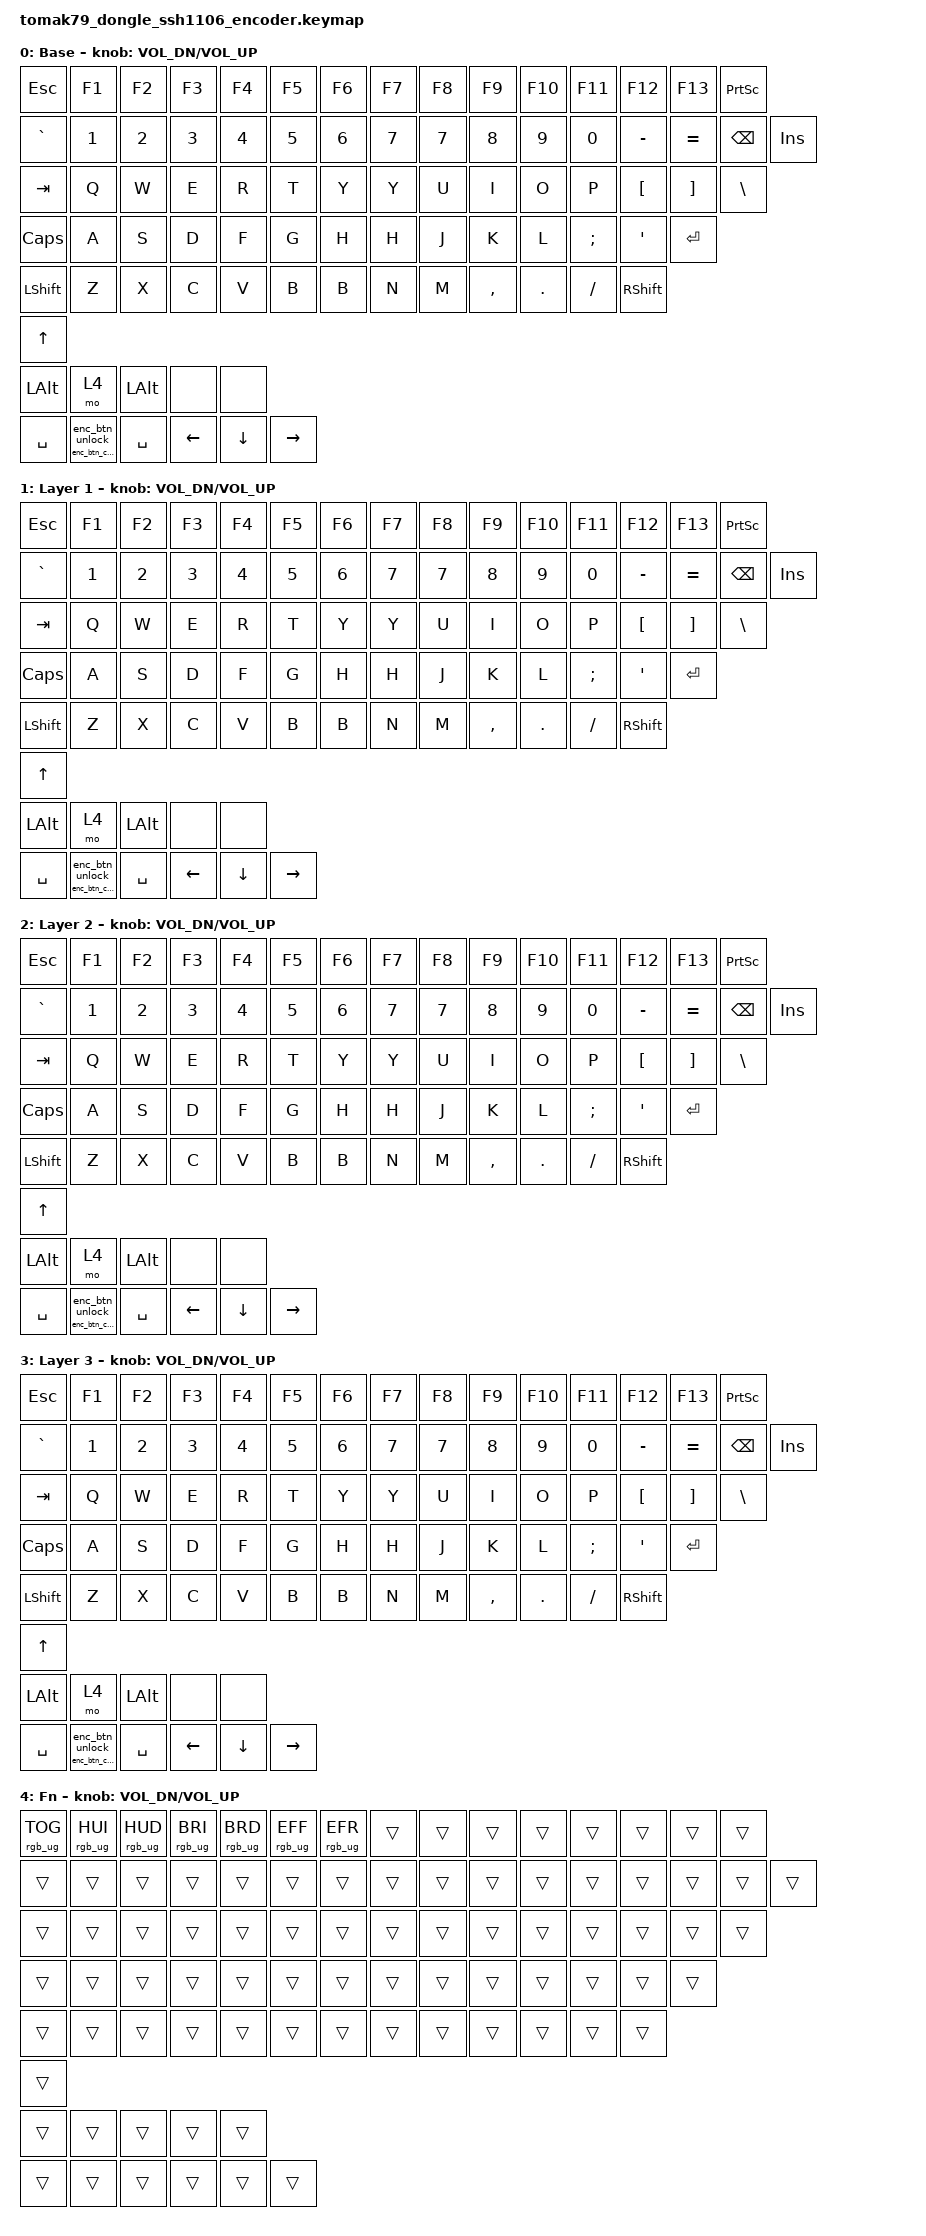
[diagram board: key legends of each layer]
#include <behaviors.dtsi>
#include <dt-bindings/zmk/keys.h>
#include <dt-bindings/zmk/bt.h>
#include <dt-bindings/zmk/rgb.h>

/ {
    behaviors {
        enc_btn_clear: enc_btn_clear {
            compatible = "zmk,behavior-macro-one-param";
            #binding-cells = <1>;
            bindings = <&bt BT_CLR>;
        };

        enc_btn_unlock: enc_btn_unlock {
            compatible = "zmk,behavior-macro-one-param";
            #binding-cells = <1>;
            bindings = <&studio_unlock>;
        };

        enc_btn_btclr: enc_btn_btclr {
            compatible = "zmk,behavior-hold-tap";
            #binding-cells = <2>;
            flavor = "tap-preferred";
            tapping-term-ms = <400>;
            quick-tap-ms = <200>;
            bindings = <&enc_btn_clear>, <&enc_btn_unlock>;
        };
    };

    keymap {
        compatible = "zmk,keymap";

        default_layer {
            display-name = "Base";
           bindings = <
    &kp ESC          &kp F1           &kp F2           &kp F3           &kp F4           &kp F5           &kp F6           &kp F7           &kp F8           &kp F9           &kp F10          &kp F11          &kp F12          &kp F13          &kp PSCRN
    &kp GRAVE        &kp N1           &kp N2           &kp N3           &kp N4           &kp N5           &kp N6           &kp N7           &kp N7           &kp N8           &kp N9           &kp N0           &kp MINUS        &kp EQUAL        &kp BSPC         &kp INS
    &kp TAB          &kp Q            &kp W            &kp E            &kp R            &kp T            &kp Y            &kp Y            &kp U            &kp I            &kp O            &kp P            &kp LBKT         &kp RBKT         &kp BSLH
    &kp CAPS         &kp A            &kp S            &kp D            &kp F            &kp G            &kp H            &kp H            &kp J            &kp K            &kp L            &kp SEMI         &kp SQT          &kp RET
    &kp LSHFT        &kp Z            &kp X            &kp C            &kp V            &kp B            &kp B            &kp N            &kp M            &kp COMMA        &kp DOT          &kp FSLH         &kp RSHFT
    &kp UP
    &kp LALT         &mo 4            &kp LALT         &none            &none
    &kp SPC          &enc_btn_btclr 0 0 &kp SPC          &kp LEFT         &kp DOWN         &kp RIGHT
>;
            sensor-bindings = <&inc_dec_kp C_VOL_DN C_VOL_UP>;
        };

        layer_1 {
            display-name = "Layer 1";
           bindings = <
    &kp ESC          &kp F1           &kp F2           &kp F3           &kp F4           &kp F5           &kp F6           &kp F7           &kp F8           &kp F9           &kp F10          &kp F11          &kp F12          &kp F13          &kp PSCRN
    &kp GRAVE        &kp N1           &kp N2           &kp N3           &kp N4           &kp N5           &kp N6           &kp N7           &kp N7           &kp N8           &kp N9           &kp N0           &kp MINUS        &kp EQUAL        &kp BSPC         &kp INS
    &kp TAB          &kp Q            &kp W            &kp E            &kp R            &kp T            &kp Y            &kp Y            &kp U            &kp I            &kp O            &kp P            &kp LBKT         &kp RBKT         &kp BSLH
    &kp CAPS         &kp A            &kp S            &kp D            &kp F            &kp G            &kp H            &kp H            &kp J            &kp K            &kp L            &kp SEMI         &kp SQT          &kp RET
    &kp LSHFT        &kp Z            &kp X            &kp C            &kp V            &kp B            &kp B            &kp N            &kp M            &kp COMMA        &kp DOT          &kp FSLH         &kp RSHFT
    &kp UP
    &kp LALT         &mo 4            &kp LALT         &none            &none
    &kp SPC          &enc_btn_btclr 0 0 &kp SPC          &kp LEFT         &kp DOWN         &kp RIGHT
>;
            sensor-bindings = <&inc_dec_kp C_VOL_DN C_VOL_UP>;
        };

        layer_2 {
            display-name = "Layer 2";
           bindings = <
    &kp ESC          &kp F1           &kp F2           &kp F3           &kp F4           &kp F5           &kp F6           &kp F7           &kp F8           &kp F9           &kp F10          &kp F11          &kp F12          &kp F13          &kp PSCRN
    &kp GRAVE        &kp N1           &kp N2           &kp N3           &kp N4           &kp N5           &kp N6           &kp N7           &kp N7           &kp N8           &kp N9           &kp N0           &kp MINUS        &kp EQUAL        &kp BSPC         &kp INS
    &kp TAB          &kp Q            &kp W            &kp E            &kp R            &kp T            &kp Y            &kp Y            &kp U            &kp I            &kp O            &kp P            &kp LBKT         &kp RBKT         &kp BSLH
    &kp CAPS         &kp A            &kp S            &kp D            &kp F            &kp G            &kp H            &kp H            &kp J            &kp K            &kp L            &kp SEMI         &kp SQT          &kp RET
    &kp LSHFT        &kp Z            &kp X            &kp C            &kp V            &kp B            &kp B            &kp N            &kp M            &kp COMMA        &kp DOT          &kp FSLH         &kp RSHFT
    &kp UP
    &kp LALT         &mo 4            &kp LALT         &none            &none
    &kp SPC          &enc_btn_btclr 0 0 &kp SPC          &kp LEFT         &kp DOWN         &kp RIGHT
>;
            sensor-bindings = <&inc_dec_kp C_VOL_DN C_VOL_UP>;
        };

        layer_3 {
            display-name = "Layer 3";
           bindings = <
    &kp ESC          &kp F1           &kp F2           &kp F3           &kp F4           &kp F5           &kp F6           &kp F7           &kp F8           &kp F9           &kp F10          &kp F11          &kp F12          &kp F13          &kp PSCRN
    &kp GRAVE        &kp N1           &kp N2           &kp N3           &kp N4           &kp N5           &kp N6           &kp N7           &kp N7           &kp N8           &kp N9           &kp N0           &kp MINUS        &kp EQUAL        &kp BSPC         &kp INS
    &kp TAB          &kp Q            &kp W            &kp E            &kp R            &kp T            &kp Y            &kp Y            &kp U            &kp I            &kp O            &kp P            &kp LBKT         &kp RBKT         &kp BSLH
    &kp CAPS         &kp A            &kp S            &kp D            &kp F            &kp G            &kp H            &kp H            &kp J            &kp K            &kp L            &kp SEMI         &kp SQT          &kp RET
    &kp LSHFT        &kp Z            &kp X            &kp C            &kp V            &kp B            &kp B            &kp N            &kp M            &kp COMMA        &kp DOT          &kp FSLH         &kp RSHFT
    &kp UP
    &kp LALT         &mo 4            &kp LALT         &none            &none
    &kp SPC          &enc_btn_btclr 0 0 &kp SPC          &kp LEFT         &kp DOWN         &kp RIGHT
>;
            sensor-bindings = <&inc_dec_kp C_VOL_DN C_VOL_UP>;
        };

        fn_layer {
            display-name = "Fn";
           bindings = <
    &rgb_ug RGB_TOG  &rgb_ug RGB_HUI  &rgb_ug RGB_HUD  &rgb_ug RGB_BRI  &rgb_ug RGB_BRD  &rgb_ug RGB_EFF  &rgb_ug RGB_EFR  &trans          &trans          &trans          &trans          &trans          &trans          &trans          &trans
    &trans           &trans           &trans           &trans           &trans           &trans           &trans           &trans           &trans           &trans           &trans           &trans           &trans           &trans           &trans           &trans
    &trans           &trans           &trans           &trans           &trans           &trans           &trans           &trans           &trans           &trans           &trans           &trans           &trans           &trans           &trans
    &trans           &trans           &trans           &trans           &trans           &trans           &trans           &trans           &trans           &trans           &trans           &trans           &trans           &trans
    &trans           &trans           &trans           &trans           &trans           &trans           &trans           &trans           &trans           &trans           &trans           &trans           &trans
    &trans
    &trans           &trans           &trans           &trans           &trans
    &trans           &trans           &trans           &trans           &trans           &trans
>;
            sensor-bindings = <&inc_dec_kp C_VOL_DN C_VOL_UP>;
        };
    };
};
